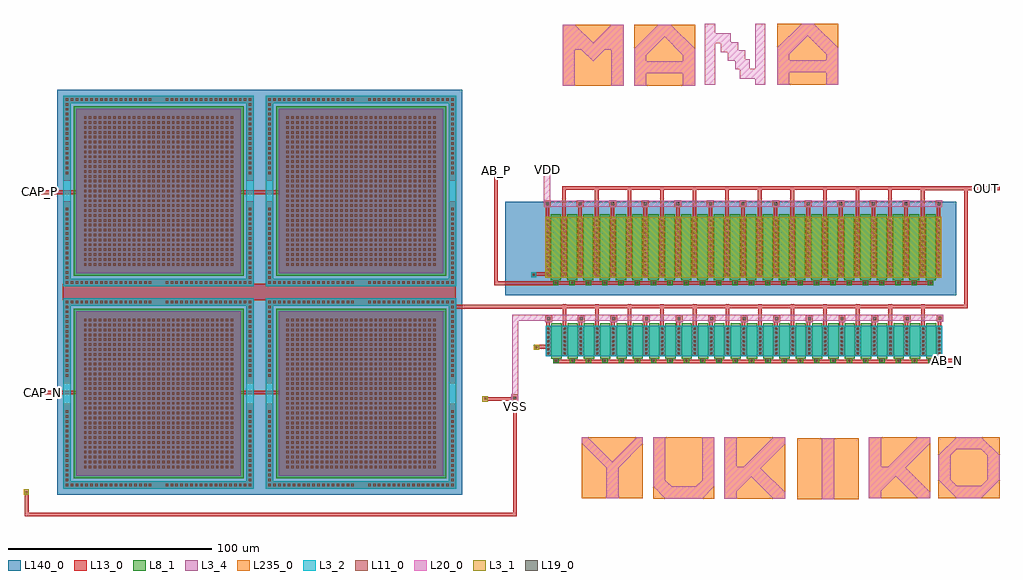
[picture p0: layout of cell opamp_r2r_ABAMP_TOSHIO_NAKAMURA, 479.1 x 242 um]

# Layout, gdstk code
from math import pi, radians
import gdstk
lib = gdstk.Library(unit=1e-6, precision=1e-07)
def R(c, l, rs):  # rectangles x0, y0, x1, y1
    for r in rs: c.add(gdstk.rectangle(r[:2], r[2:], *l))
def A(c, l, x, y, w, h, nx, ny, dx, dy):  # array of equal rectangles
    R(c, l, [(x+i*dx, y+j*dy, x+i*dx+w, y+j*dy+h) for i in range(nx) for j in range(ny)])
def P(c, l, *ps):  # polygons
    for p in ps: c.add(gdstk.Polygon(p, *l))
L3_1 = (3, 1)
L3_2 = (3, 2)
L3_4 = (3, 4)
L8_1 = (8, 1)
L11_0 = (11, 0)
L13_0 = (13, 0)
L19_0 = (19, 0)
L20_0 = (20, 0)
L140_0 = (140, 0)
L235_0 = (235, 0)

fet_p = lib.new_cell('fet_p')
R(fet_p, L3_1, [(-97.3,-15,97.3,15)])
A(fet_p, L11_0, -96.5, -13.5, 1, 1, 25, 14, 8, 2)
A(fet_p, L13_0, -97.3, -14.3, 2.6, 28.6, 25, 1, 8, 0)
fet_p.add(gdstk.FlexPath([(4,-16.2),(4,16.2)], 5, ends="flush", simple_path=True, layer=8, datatype=1))  # L8_1
fet_p.add(gdstk.FlexPath([(-4,-16.2),(-4,16.2)], 5, ends="flush", simple_path=True, layer=8, datatype=1))  # L8_1
fet_p.add(gdstk.FlexPath([(12,-16.2),(12,16.2)], 5, ends="flush", simple_path=True, layer=8, datatype=1))  # L8_1
fet_p.add(gdstk.FlexPath([(-12,-16.2),(-12,16.2)], 5, ends="flush", simple_path=True, layer=8, datatype=1))  # L8_1
fet_p.add(gdstk.FlexPath([(20,-16.2),(20,16.2)], 5, ends="flush", simple_path=True, layer=8, datatype=1))  # L8_1
fet_p.add(gdstk.FlexPath([(-20,-16.2),(-20,16.2)], 5, ends="flush", simple_path=True, layer=8, datatype=1))  # L8_1
fet_p.add(gdstk.FlexPath([(28,-16.2),(28,16.2)], 5, ends="flush", simple_path=True, layer=8, datatype=1))  # L8_1
fet_p.add(gdstk.FlexPath([(-28,-16.2),(-28,16.2)], 5, ends="flush", simple_path=True, layer=8, datatype=1))  # L8_1
fet_p.add(gdstk.FlexPath([(36,-16.2),(36,16.2)], 5, ends="flush", simple_path=True, layer=8, datatype=1))  # L8_1
fet_p.add(gdstk.FlexPath([(-36,-16.2),(-36,16.2)], 5, ends="flush", simple_path=True, layer=8, datatype=1))  # L8_1
fet_p.add(gdstk.FlexPath([(44,-16.2),(44,16.2)], 5, ends="flush", simple_path=True, layer=8, datatype=1))  # L8_1
fet_p.add(gdstk.FlexPath([(-44,-16.2),(-44,16.2)], 5, ends="flush", simple_path=True, layer=8, datatype=1))  # L8_1
fet_p.add(gdstk.FlexPath([(52,-16.2),(52,16.2)], 5, ends="flush", simple_path=True, layer=8, datatype=1))  # L8_1
fet_p.add(gdstk.FlexPath([(-52,-16.2),(-52,16.2)], 5, ends="flush", simple_path=True, layer=8, datatype=1))  # L8_1
fet_p.add(gdstk.FlexPath([(60,-16.2),(60,16.2)], 5, ends="flush", simple_path=True, layer=8, datatype=1))  # L8_1
fet_p.add(gdstk.FlexPath([(-60,-16.2),(-60,16.2)], 5, ends="flush", simple_path=True, layer=8, datatype=1))  # L8_1
fet_p.add(gdstk.FlexPath([(68,-16.2),(68,16.2)], 5, ends="flush", simple_path=True, layer=8, datatype=1))  # L8_1
fet_p.add(gdstk.FlexPath([(-68,-16.2),(-68,16.2)], 5, ends="flush", simple_path=True, layer=8, datatype=1))  # L8_1
fet_p.add(gdstk.FlexPath([(76,-16.2),(76,16.2)], 5, ends="flush", simple_path=True, layer=8, datatype=1))  # L8_1
fet_p.add(gdstk.FlexPath([(-76,-16.2),(-76,16.2)], 5, ends="flush", simple_path=True, layer=8, datatype=1))  # L8_1
fet_p.add(gdstk.FlexPath([(84,-16.2),(84,16.2)], 5, ends="flush", simple_path=True, layer=8, datatype=1))  # L8_1
fet_p.add(gdstk.FlexPath([(-84,-16.2),(-84,16.2)], 5, ends="flush", simple_path=True, layer=8, datatype=1))  # L8_1
fet_p.add(gdstk.FlexPath([(92,-16.2),(92,16.2)], 5, ends="flush", simple_path=True, layer=8, datatype=1))  # L8_1
fet_p.add(gdstk.FlexPath([(-92,-16.2),(-92,16.2)], 5, ends="flush", simple_path=True, layer=8, datatype=1))  # L8_1

cont_g = lib.new_cell('cont_g')
R(cont_g, L8_1, [(-1.3,-1.3,1.3,1.3)])
R(cont_g, L11_0, [(-0.5,-0.5,0.5,0.5)])
R(cont_g, L13_0, [(-1.3,-1.3,1.3,1.3)])

via_1 = lib.new_cell('via_1')
R(via_1, L13_0, [(-1.7,-1.7,1.7,1.7)])
R(via_1, L19_0, [(-0.7,-0.7,0.7,0.7)])
R(via_1, L20_0, [(-1.7,-1.7,1.7,1.7)])

cont_n = lib.new_cell('cont_n')
R(cont_n, L3_2, [(-1.3,-1.3,1.3,1.3)])
R(cont_n, L11_0, [(-0.5,-0.5,0.5,0.5)])
R(cont_n, L13_0, [(-1.3,-1.3,1.3,1.3)])

cont_p = lib.new_cell('cont_p')
R(cont_p, L3_1, [(-1.3,-1.3,1.3,1.3)])
R(cont_p, L11_0, [(-0.5,-0.5,0.5,0.5)])
R(cont_p, L13_0, [(-1.3,-1.3,1.3,1.3)])

moscap = lib.new_cell('moscap')
P(moscap, L3_2, [(-46.7,-46.7),(-46.7,43.1),(-43.1,43.1),(-43.1,-43.1),(43.1,-43.1),(43.1,43.1),(-46.7,43.1),(-46.7,46.7),(46.7,46.7),(46.7,-46.7)])
R(moscap, L3_4, [(-40.3,-40.3,40.3,40.3)])
R(moscap, L8_1, [(-41.7,-41.7,41.7,41.7)])
A(moscap, L11_0, -45.5, -45.5, 1.2, 1.2, 1, 18, 0, 2.4)
A(moscap, L11_0, -45.5, -45.5, 1.2, 1.2, 16, 2, 2.4, 89.8)
A(moscap, L11_0, 8.3, -45.5, 1.2, 1.2, 16, 2, 2.4, 89.8)
A(moscap, L11_0, 44.3, -45.5, 1.2, 1.2, 1, 18, 0, 2.4)
A(moscap, L11_0, -36.6, -36.6, 1.2, 1.2, 31, 31, 2.4, 2.4)
A(moscap, L11_0, -45.5, 3.5, 1.2, 1.2, 1, 18, 0, 2.4)
A(moscap, L11_0, 44.3, 3.5, 1.2, 1.2, 1, 18, 0, 2.4)
R(moscap, L13_0, [(-40.3,-40.3,40.3,40.3)])
P(moscap, L13_0, [(-46.7,-46.7),(-46.7,46.7),(-5,46.7),(-5,43.1),(-43.1,43.1),(-43.1,-43.1),(-5,-43.1),(-5,-46.7)],
  [(5,-46.7),(5,-43.1),(43.1,-43.1),(43.1,43.1),(5,43.1),(5,46.7),(46.7,46.7),(46.7,-46.7)])
R(moscap, L140_0, [(-49.7,-49.7,49.7,49.7)])

fet_n = lib.new_cell('fet_n')
R(fet_n, L3_2, [(-97.3,-7.5,97.3,7.5)])
A(fet_n, L11_0, -96.5, -6.5, 1, 1, 25, 7, 8, 2)
A(fet_n, L13_0, -97.3, -7.3, 2.6, 14.6, 25, 1, 8, 0)
fet_n.add(gdstk.FlexPath([(4,-8.7),(4,8.7)], 5, ends="flush", simple_path=True, layer=8, datatype=1))  # L8_1
fet_n.add(gdstk.FlexPath([(-4,-8.7),(-4,8.7)], 5, ends="flush", simple_path=True, layer=8, datatype=1))  # L8_1
fet_n.add(gdstk.FlexPath([(12,-8.7),(12,8.7)], 5, ends="flush", simple_path=True, layer=8, datatype=1))  # L8_1
fet_n.add(gdstk.FlexPath([(-12,-8.7),(-12,8.7)], 5, ends="flush", simple_path=True, layer=8, datatype=1))  # L8_1
fet_n.add(gdstk.FlexPath([(20,-8.7),(20,8.7)], 5, ends="flush", simple_path=True, layer=8, datatype=1))  # L8_1
fet_n.add(gdstk.FlexPath([(-20,-8.7),(-20,8.7)], 5, ends="flush", simple_path=True, layer=8, datatype=1))  # L8_1
fet_n.add(gdstk.FlexPath([(28,-8.7),(28,8.7)], 5, ends="flush", simple_path=True, layer=8, datatype=1))  # L8_1
fet_n.add(gdstk.FlexPath([(-28,-8.7),(-28,8.7)], 5, ends="flush", simple_path=True, layer=8, datatype=1))  # L8_1
fet_n.add(gdstk.FlexPath([(36,-8.7),(36,8.7)], 5, ends="flush", simple_path=True, layer=8, datatype=1))  # L8_1
fet_n.add(gdstk.FlexPath([(-36,-8.7),(-36,8.7)], 5, ends="flush", simple_path=True, layer=8, datatype=1))  # L8_1
fet_n.add(gdstk.FlexPath([(44,-8.7),(44,8.7)], 5, ends="flush", simple_path=True, layer=8, datatype=1))  # L8_1
fet_n.add(gdstk.FlexPath([(-44,-8.7),(-44,8.7)], 5, ends="flush", simple_path=True, layer=8, datatype=1))  # L8_1
fet_n.add(gdstk.FlexPath([(52,-8.7),(52,8.7)], 5, ends="flush", simple_path=True, layer=8, datatype=1))  # L8_1
fet_n.add(gdstk.FlexPath([(-52,-8.7),(-52,8.7)], 5, ends="flush", simple_path=True, layer=8, datatype=1))  # L8_1
fet_n.add(gdstk.FlexPath([(60,-8.7),(60,8.7)], 5, ends="flush", simple_path=True, layer=8, datatype=1))  # L8_1
fet_n.add(gdstk.FlexPath([(-60,-8.7),(-60,8.7)], 5, ends="flush", simple_path=True, layer=8, datatype=1))  # L8_1
fet_n.add(gdstk.FlexPath([(68,-8.7),(68,8.7)], 5, ends="flush", simple_path=True, layer=8, datatype=1))  # L8_1
fet_n.add(gdstk.FlexPath([(-68,-8.7),(-68,8.7)], 5, ends="flush", simple_path=True, layer=8, datatype=1))  # L8_1
fet_n.add(gdstk.FlexPath([(76,-8.7),(76,8.7)], 5, ends="flush", simple_path=True, layer=8, datatype=1))  # L8_1
fet_n.add(gdstk.FlexPath([(-76,-8.7),(-76,8.7)], 5, ends="flush", simple_path=True, layer=8, datatype=1))  # L8_1
fet_n.add(gdstk.FlexPath([(84,-8.7),(84,8.7)], 5, ends="flush", simple_path=True, layer=8, datatype=1))  # L8_1
fet_n.add(gdstk.FlexPath([(-84,-8.7),(-84,8.7)], 5, ends="flush", simple_path=True, layer=8, datatype=1))  # L8_1
fet_n.add(gdstk.FlexPath([(92,-8.7),(92,8.7)], 5, ends="flush", simple_path=True, layer=8, datatype=1))  # L8_1
fet_n.add(gdstk.FlexPath([(-92,-8.7),(-92,8.7)], 5, ends="flush", simple_path=True, layer=8, datatype=1))  # L8_1

c_m = lib.new_cell('M')
P(c_m, L20_0, [(0,0),(0,30),(6,30),(15,21),(24,30),(30,30),(30,0),(24,0),(24,17.7),(20.7,17.7),(15,12),(9.3,17.7),(6,17.7),(6,0)])
R(c_m, L235_0, [(0,0,30,30)])

c_a = lib.new_cell('A')
P(c_a, L20_0, [(0,0),(0,18),(12,30),(18,30),(30,18),(30,0),(24,0),(24,6),(6,6),(6,12),(24,12),(24,15),(15,24),(6,15),(6,0)])
R(c_a, L235_0, [(0,0,30,30)])

c_y = lib.new_cell('Y')
P(c_y, L20_0, [(12,0),(12,15),(0,27),(0,30),(3,30),(15,18),(27,30),(30,30),(30,27),(18,15),(18,0)])
R(c_y, L235_0, [(0,0,30,30)])

c_u = lib.new_cell('U')
P(c_u, L20_0, [(6,0),(0,6),(0,30),(6,30),(6,9),(9,6),(21,6),(24,9),(24,30),(30,30),(30,6),(24,0)])
R(c_u, L235_0, [(0,0,30,30)])

c_k = lib.new_cell('K')
P(c_k, L20_0, [(0,0),(0,30),(6,30),(6,15.5),(9.5,15.5),(24,30),(30,30),(30,27),(18,15),(30,3),(30,0),(24,0),(13.2,10.8),(6,3.6),(6,0)])
R(c_k, L235_0, [(0,0,30,30)])

c_i = lib.new_cell('I')
R(c_i, L20_0, [(12,0,18,30)])
R(c_i, L235_0, [(0,0,30,30)])

c_o = lib.new_cell('O')
P(c_o, L20_0, [(9,0),(0,9),(0,21),(9,30),(9,24),(6,21),(6,9),(9,6),(21,6),(24,9),(24,21),(21,24),(9,24),(9,30),(21,30),(30,21),(30,9),(21,0)])
R(c_o, L235_0, [(0,0,30,30)])

opamp_r2r_abamp_toshio_n = lib.new_cell('opamp_r2r_ABAMP_TOSHIO_NAKAMURA')
R(opamp_r2r_abamp_toshio_n, L140_0, [(-118.1,-23.3,103.3,22.6)])
opamp_r2r_abamp_toshio_n.add(gdstk.FlexPath([(-93.3,-17.3),(-122.6,-17.3),(-122.6,38.9)], 1.8, ends="flush", simple_path=True, layer=13, datatype=0))  # L13_0
opamp_r2r_abamp_toshio_n.add(gdstk.FlexPath([(90.4,-16.9),(91.4,-16.9)], 1.8, ends="flush", simple_path=True, layer=13, datatype=0))  # L13_0
opamp_r2r_abamp_toshio_n.add(gdstk.FlexPath([(-352.9,-118.6),(-352.9,-130.9),(-113.3,-130.9),(-113.3,-74)], 1.8, ends="flush", simple_path=True, layer=13, datatype=0))  # L13_0
opamp_r2r_abamp_toshio_n.add(gdstk.FlexPath([(-93,-55.7),(91.6,-55.7)], 1.8, ends="flush", simple_path=True, layer=13, datatype=0))  # L13_0
opamp_r2r_abamp_toshio_n.add(gdstk.FlexPath([(90.9,-55.3),(104.5,-55.3)], 1.8, ends="flush", simple_path=True, layer=13, datatype=0))  # L13_0
opamp_r2r_abamp_toshio_n.add(gdstk.FlexPath([(-113.6,-74.1),(-126.9,-74.1)], 1.8, ends="flush", simple_path=True, layer=13, datatype=0))  # L13_0
opamp_r2r_abamp_toshio_n.add(gdstk.FlexPath([(-142.4,-21.6),(-335.3,-21.6)], 8, ends="flush", simple_path=True, layer=13, datatype=0))  # L13_0
opamp_r2r_abamp_toshio_n.add(gdstk.FlexPath([(-103.1,-48.5),(-96.3,-48.5)], 1.8, ends="flush", simple_path=True, layer=13, datatype=0))  # L13_0
opamp_r2r_abamp_toshio_n.add(gdstk.FlexPath([(-154.8,-71),(-347.1,-71)], 1.8, ends="flush", simple_path=True, layer=13, datatype=0))  # L13_0
opamp_r2r_abamp_toshio_n.add(gdstk.FlexPath([(-151.9,27.4),(-348,27.4)], 1.8, ends="flush", simple_path=True, layer=13, datatype=0))  # L13_0
opamp_r2r_abamp_toshio_n.add(gdstk.FlexPath([(-89,-28.8),(-144.2,-28.8)], 1.8, ends="flush", simple_path=True, layer=13, datatype=0))  # L13_0
opamp_r2r_abamp_toshio_n.add(gdstk.FlexPath([(-104.3,-12.8),(-96.4,-12.8)], 1.8, ends="flush", simple_path=True, layer=13, datatype=0))  # L13_0
opamp_r2r_abamp_toshio_n.add(gdstk.FlexPath([(108.2,29.3),(108.2,-29.1)], 1.8, ends="flush", simple_path=True, layer=13, datatype=0))  # L13_0
opamp_r2r_abamp_toshio_n.add(gdstk.FlexPath([(-81.1,-35),(-81.1,-42)], 1.8, ends="flush", simple_path=True, layer=13, datatype=0))  # L13_0
opamp_r2r_abamp_toshio_n.add(gdstk.FlexPath([(-65.1,-35),(-65.1,-42)], 1.8, ends="flush", simple_path=True, layer=13, datatype=0))  # L13_0
opamp_r2r_abamp_toshio_n.add(gdstk.FlexPath([(-49.1,-35),(-49.1,-42)], 1.8, ends="flush", simple_path=True, layer=13, datatype=0))  # L13_0
opamp_r2r_abamp_toshio_n.add(gdstk.FlexPath([(-33.1,-35),(-33.1,-42)], 1.8, ends="flush", simple_path=True, layer=13, datatype=0))  # L13_0
opamp_r2r_abamp_toshio_n.add(gdstk.FlexPath([(-17.1,-35),(-17.1,-42)], 1.8, ends="flush", simple_path=True, layer=13, datatype=0))  # L13_0
opamp_r2r_abamp_toshio_n.add(gdstk.FlexPath([(-1.1,-35),(-1.1,-42)], 1.8, ends="flush", simple_path=True, layer=13, datatype=0))  # L13_0
opamp_r2r_abamp_toshio_n.add(gdstk.FlexPath([(14.9,-35),(14.9,-42)], 1.8, ends="flush", simple_path=True, layer=13, datatype=0))  # L13_0
opamp_r2r_abamp_toshio_n.add(gdstk.FlexPath([(30.9,-35),(30.9,-42)], 1.8, ends="flush", simple_path=True, layer=13, datatype=0))  # L13_0
opamp_r2r_abamp_toshio_n.add(gdstk.FlexPath([(46.9,-35),(46.9,-42)], 1.8, ends="flush", simple_path=True, layer=13, datatype=0))  # L13_0
opamp_r2r_abamp_toshio_n.add(gdstk.FlexPath([(-97.1,-35),(-97.1,-42)], 1.8, ends="flush", simple_path=True, layer=13, datatype=0))  # L13_0
opamp_r2r_abamp_toshio_n.add(gdstk.FlexPath([(62.9,-35),(62.9,-42)], 1.8, ends="flush", simple_path=True, layer=13, datatype=0))  # L13_0
opamp_r2r_abamp_toshio_n.add(gdstk.FlexPath([(78.9,-35),(78.9,-42)], 1.8, ends="flush", simple_path=True, layer=13, datatype=0))  # L13_0
opamp_r2r_abamp_toshio_n.add(gdstk.FlexPath([(95.1,-35.7),(95.1,-42.5)], 1.8, ends="flush", simple_path=True, layer=13, datatype=0))  # L13_0
opamp_r2r_abamp_toshio_n.add(gdstk.FlexPath([(-89,-41.6),(-89,-27.7)], 1.8, ends="flush", simple_path=True, layer=13, datatype=0))  # L13_0
opamp_r2r_abamp_toshio_n.add(gdstk.FlexPath([(-73,-41.6),(-73,-27.7)], 1.8, ends="flush", simple_path=True, layer=13, datatype=0))  # L13_0
opamp_r2r_abamp_toshio_n.add(gdstk.FlexPath([(-57,-41.6),(-57,-27.7)], 1.8, ends="flush", simple_path=True, layer=13, datatype=0))  # L13_0
opamp_r2r_abamp_toshio_n.add(gdstk.FlexPath([(-41,-41.6),(-41,-27.7)], 1.8, ends="flush", simple_path=True, layer=13, datatype=0))  # L13_0
opamp_r2r_abamp_toshio_n.add(gdstk.FlexPath([(-25,-41.6),(-25,-27.7)], 1.8, ends="flush", simple_path=True, layer=13, datatype=0))  # L13_0
opamp_r2r_abamp_toshio_n.add(gdstk.FlexPath([(-9,-41.6),(-9,-27.7)], 1.8, ends="flush", simple_path=True, layer=13, datatype=0))  # L13_0
opamp_r2r_abamp_toshio_n.add(gdstk.FlexPath([(7,-41.6),(7,-27.7)], 1.8, ends="flush", simple_path=True, layer=13, datatype=0))  # L13_0
opamp_r2r_abamp_toshio_n.add(gdstk.FlexPath([(23,-41.6),(23,-27.7)], 1.8, ends="flush", simple_path=True, layer=13, datatype=0))  # L13_0
opamp_r2r_abamp_toshio_n.add(gdstk.FlexPath([(39,-41.6),(39,-27.7)], 1.8, ends="flush", simple_path=True, layer=13, datatype=0))  # L13_0
opamp_r2r_abamp_toshio_n.add(gdstk.FlexPath([(55,-41.6),(55,-27.7)], 1.8, ends="flush", simple_path=True, layer=13, datatype=0))  # L13_0
opamp_r2r_abamp_toshio_n.add(gdstk.FlexPath([(71,-41.6),(71,-27.7)], 1.8, ends="flush", simple_path=True, layer=13, datatype=0))  # L13_0
opamp_r2r_abamp_toshio_n.add(gdstk.FlexPath([(87,-41.6),(87,-27.7)], 1.8, ends="flush", simple_path=True, layer=13, datatype=0))  # L13_0
opamp_r2r_abamp_toshio_n.add(gdstk.FlexPath([(109.1,-28.7),(-89.5,-28.7)], 1.8, ends="flush", simple_path=True, layer=13, datatype=0))  # L13_0
opamp_r2r_abamp_toshio_n.add(gdstk.FlexPath([(-97.3,21),(-97.3,14.3)], 1.8, ends="flush", simple_path=True, layer=13, datatype=0))  # L13_0
opamp_r2r_abamp_toshio_n.add(gdstk.FlexPath([(-33.3,21),(-33.3,14.3)], 1.8, ends="flush", simple_path=True, layer=13, datatype=0))  # L13_0
opamp_r2r_abamp_toshio_n.add(gdstk.FlexPath([(-81.3,21),(-81.3,14.3)], 1.8, ends="flush", simple_path=True, layer=13, datatype=0))  # L13_0
opamp_r2r_abamp_toshio_n.add(gdstk.FlexPath([(-89.1,30.3),(-89.1,14.5)], 1.8, ends="flush", simple_path=True, layer=13, datatype=0))  # L13_0
opamp_r2r_abamp_toshio_n.add(gdstk.FlexPath([(-65.3,21),(-65.3,14.3)], 1.8, ends="flush", simple_path=True, layer=13, datatype=0))  # L13_0
opamp_r2r_abamp_toshio_n.add(gdstk.FlexPath([(-73.1,30.3),(-73.1,14.5)], 1.8, ends="flush", simple_path=True, layer=13, datatype=0))  # L13_0
opamp_r2r_abamp_toshio_n.add(gdstk.FlexPath([(-49.3,21),(-49.3,14.3)], 1.8, ends="flush", simple_path=True, layer=13, datatype=0))  # L13_0
opamp_r2r_abamp_toshio_n.add(gdstk.FlexPath([(-57.1,30.3),(-57.1,14.5)], 1.8, ends="flush", simple_path=True, layer=13, datatype=0))  # L13_0
opamp_r2r_abamp_toshio_n.add(gdstk.FlexPath([(-41.1,30.3),(-41.1,14.5)], 1.8, ends="flush", simple_path=True, layer=13, datatype=0))  # L13_0
opamp_r2r_abamp_toshio_n.add(gdstk.FlexPath([(-25.1,30.3),(-25.1,14.5)], 1.8, ends="flush", simple_path=True, layer=13, datatype=0))  # L13_0
opamp_r2r_abamp_toshio_n.add(gdstk.FlexPath([(-17.3,21),(-17.3,14.3)], 1.8, ends="flush", simple_path=True, layer=13, datatype=0))  # L13_0
opamp_r2r_abamp_toshio_n.add(gdstk.FlexPath([(-9.1,30.3),(-9.1,14.5)], 1.8, ends="flush", simple_path=True, layer=13, datatype=0))  # L13_0
opamp_r2r_abamp_toshio_n.add(gdstk.FlexPath([(-1.3,21),(-1.3,14.3)], 1.8, ends="flush", simple_path=True, layer=13, datatype=0))  # L13_0
opamp_r2r_abamp_toshio_n.add(gdstk.FlexPath([(6.9,30.3),(6.9,14.5)], 1.8, ends="flush", simple_path=True, layer=13, datatype=0))  # L13_0
opamp_r2r_abamp_toshio_n.add(gdstk.FlexPath([(14.7,21),(14.7,14.3)], 1.8, ends="flush", simple_path=True, layer=13, datatype=0))  # L13_0
opamp_r2r_abamp_toshio_n.add(gdstk.FlexPath([(22.9,30.3),(22.9,14.5)], 1.8, ends="flush", simple_path=True, layer=13, datatype=0))  # L13_0
opamp_r2r_abamp_toshio_n.add(gdstk.FlexPath([(30.7,21),(30.7,14.3)], 1.8, ends="flush", simple_path=True, layer=13, datatype=0))  # L13_0
opamp_r2r_abamp_toshio_n.add(gdstk.FlexPath([(38.9,30.3),(38.9,14.5)], 1.8, ends="flush", simple_path=True, layer=13, datatype=0))  # L13_0
opamp_r2r_abamp_toshio_n.add(gdstk.FlexPath([(46.7,21),(46.7,14.3)], 1.8, ends="flush", simple_path=True, layer=13, datatype=0))  # L13_0
opamp_r2r_abamp_toshio_n.add(gdstk.FlexPath([(54.9,30.3),(54.9,14.5)], 1.8, ends="flush", simple_path=True, layer=13, datatype=0))  # L13_0
opamp_r2r_abamp_toshio_n.add(gdstk.FlexPath([(62.7,21),(62.7,14.3)], 1.8, ends="flush", simple_path=True, layer=13, datatype=0))  # L13_0
opamp_r2r_abamp_toshio_n.add(gdstk.FlexPath([(70.9,30.3),(70.9,14.5)], 1.8, ends="flush", simple_path=True, layer=13, datatype=0))  # L13_0
opamp_r2r_abamp_toshio_n.add(gdstk.FlexPath([(78.7,21),(78.7,14.3)], 1.8, ends="flush", simple_path=True, layer=13, datatype=0))  # L13_0
opamp_r2r_abamp_toshio_n.add(gdstk.FlexPath([(94.7,21),(94.7,14.3)], 1.8, ends="flush", simple_path=True, layer=13, datatype=0))  # L13_0
opamp_r2r_abamp_toshio_n.add(gdstk.FlexPath([(86.9,30.3),(86.9,14.5)], 1.8, ends="flush", simple_path=True, layer=13, datatype=0))  # L13_0
opamp_r2r_abamp_toshio_n.add(gdstk.FlexPath([(-89.6,29.4),(86.7,29.4)], 1.8, ends="flush", simple_path=True, layer=13, datatype=0))  # L13_0
opamp_r2r_abamp_toshio_n.add(gdstk.FlexPath([(-93.3,-17.1),(91.4,-17.1)], 1.8, ends="flush", simple_path=True, layer=13, datatype=0))  # L13_0
opamp_r2r_abamp_toshio_n.add(gdstk.FlexPath([(87,29.3),(124.6,29.3)], 1.8, ends="flush", simple_path=True, layer=13, datatype=0))  # L13_0
opamp_r2r_abamp_toshio_n.add(gdstk.FlexPath([(-17.5,110),(-17.5,80.1)], 5, ends="flush", simple_path=True, layer=20, datatype=0))  # L20_0
opamp_r2r_abamp_toshio_n.add(gdstk.FlexPath([(7.2,110.1),(7.2,80.1)], 5, ends="flush", simple_path=True, layer=20, datatype=0))  # L20_0
opamp_r2r_abamp_toshio_n.add(gdstk.FlexPath([(-15.4,103),(-9.8,103),(-9.8,98.5),(-6.2,98.5),(-6.2,94.5),(-2.7,94.5),(-2.7,90.2),(-0.4,90.2),(-0.4,85.5),(5.3,85.5)], 5, ends="flush", simple_path=True, layer=20, datatype=0))  # L20_0
opamp_r2r_abamp_toshio_n.add(gdstk.FlexPath([(94.6,21.7),(-98,21.7)], 3, ends="flush", simple_path=True, layer=20, datatype=0))  # L20_0
opamp_r2r_abamp_toshio_n.add(gdstk.FlexPath([(-97.5,21.7),(-97.5,39.3)], 3, ends="flush", simple_path=True, layer=20, datatype=0))  # L20_0
opamp_r2r_abamp_toshio_n.add(gdstk.FlexPath([(95.3,-34.2),(-113.1,-34.2),(-113.1,-54.4),(-113.1,-79.3)], 3, ends="flush", simple_path=True, layer=20, datatype=0))  # L20_0
opamp_r2r_abamp_toshio_n.add(gdstk.Reference(fet_p, (-1.2,0.4), rotation=pi))
opamp_r2r_abamp_toshio_n.add(gdstk.Reference(cont_g, (-93.2,-17.1), rotation=pi))
opamp_r2r_abamp_toshio_n.add(gdstk.Reference(cont_g, (-85.2,-17.1), rotation=pi))
opamp_r2r_abamp_toshio_n.add(gdstk.Reference(cont_g, (-77.2,-17.1), rotation=pi))
opamp_r2r_abamp_toshio_n.add(gdstk.Reference(cont_g, (-69.2,-17.1), rotation=pi))
opamp_r2r_abamp_toshio_n.add(gdstk.Reference(cont_g, (-61.2,-17.1), rotation=pi))
opamp_r2r_abamp_toshio_n.add(gdstk.Reference(cont_g, (-53.2,-17.1), rotation=pi))
opamp_r2r_abamp_toshio_n.add(gdstk.Reference(cont_g, (-45.2,-17.1), rotation=pi))
opamp_r2r_abamp_toshio_n.add(gdstk.Reference(cont_g, (-37.2,-17.1), rotation=pi))
opamp_r2r_abamp_toshio_n.add(gdstk.Reference(cont_g, (-29.2,-17.1), rotation=pi))
opamp_r2r_abamp_toshio_n.add(gdstk.Reference(cont_g, (-21.2,-17.1), rotation=pi))
opamp_r2r_abamp_toshio_n.add(gdstk.Reference(cont_g, (-13.2,-17.1), rotation=pi))
opamp_r2r_abamp_toshio_n.add(gdstk.Reference(cont_g, (-5.2,-17.1), rotation=pi))
opamp_r2r_abamp_toshio_n.add(gdstk.Reference(cont_g, (2.8,-17.1), rotation=pi))
opamp_r2r_abamp_toshio_n.add(gdstk.Reference(cont_g, (10.8,-17.1), rotation=pi))
opamp_r2r_abamp_toshio_n.add(gdstk.Reference(cont_g, (18.8,-17.1), rotation=pi))
opamp_r2r_abamp_toshio_n.add(gdstk.Reference(cont_g, (26.8,-17.1), rotation=pi))
opamp_r2r_abamp_toshio_n.add(gdstk.Reference(cont_g, (34.8,-17.1), rotation=pi))
opamp_r2r_abamp_toshio_n.add(gdstk.Reference(cont_g, (42.8,-17.1), rotation=pi))
opamp_r2r_abamp_toshio_n.add(gdstk.Reference(cont_g, (50.8,-17.1), rotation=pi))
opamp_r2r_abamp_toshio_n.add(gdstk.Reference(cont_g, (58.8,-17.1), rotation=pi))
opamp_r2r_abamp_toshio_n.add(gdstk.Reference(cont_g, (66.8,-17.1), rotation=pi))
opamp_r2r_abamp_toshio_n.add(gdstk.Reference(cont_g, (74.8,-17.1), rotation=pi))
opamp_r2r_abamp_toshio_n.add(gdstk.Reference(cont_g, (82.8,-17.1), rotation=pi))
opamp_r2r_abamp_toshio_n.add(gdstk.Reference(cont_g, (90.8,-17.1), rotation=pi))
opamp_r2r_abamp_toshio_n.add(gdstk.Reference(via_1, (-97.3,21.7), rotation=pi))
opamp_r2r_abamp_toshio_n.add(gdstk.Reference(via_1, (-33.3,21.7), rotation=pi))
opamp_r2r_abamp_toshio_n.add(gdstk.Reference(via_1, (-81.3,21.7), rotation=pi))
opamp_r2r_abamp_toshio_n.add(gdstk.Reference(via_1, (94.9,21.7), rotation=pi))
opamp_r2r_abamp_toshio_n.add(gdstk.Reference(via_1, (-65.3,21.7), rotation=pi))
opamp_r2r_abamp_toshio_n.add(gdstk.Reference(via_1, (-49.3,21.7), rotation=pi))
opamp_r2r_abamp_toshio_n.add(gdstk.Reference(via_1, (-17.3,21.7), rotation=pi))
opamp_r2r_abamp_toshio_n.add(gdstk.Reference(via_1, (-1.3,21.7), rotation=pi))
opamp_r2r_abamp_toshio_n.add(gdstk.Reference(via_1, (14.7,21.7), rotation=pi))
opamp_r2r_abamp_toshio_n.add(gdstk.Reference(via_1, (30.7,21.7), rotation=pi))
opamp_r2r_abamp_toshio_n.add(gdstk.Reference(via_1, (46.7,21.7), rotation=pi))
opamp_r2r_abamp_toshio_n.add(gdstk.Reference(via_1, (62.7,21.7), rotation=pi))
opamp_r2r_abamp_toshio_n.add(gdstk.Reference(via_1, (78.7,21.7), rotation=pi))
opamp_r2r_abamp_toshio_n.add(gdstk.Reference(cont_n, (-104,-13.1), rotation=pi))
opamp_r2r_abamp_toshio_n.add(gdstk.Reference(cont_g, (-85.1,-55.3), rotation=pi))
opamp_r2r_abamp_toshio_n.add(gdstk.Reference(cont_g, (-77.1,-55.3), rotation=pi))
opamp_r2r_abamp_toshio_n.add(gdstk.Reference(cont_g, (-69.1,-55.3), rotation=pi))
opamp_r2r_abamp_toshio_n.add(gdstk.Reference(cont_g, (-61.1,-55.3), rotation=pi))
opamp_r2r_abamp_toshio_n.add(gdstk.Reference(cont_g, (-53.1,-55.3), rotation=pi))
opamp_r2r_abamp_toshio_n.add(gdstk.Reference(cont_g, (-45.1,-55.3), rotation=pi))
opamp_r2r_abamp_toshio_n.add(gdstk.Reference(cont_g, (-37.1,-55.3), rotation=pi))
opamp_r2r_abamp_toshio_n.add(gdstk.Reference(cont_g, (-29.1,-55.3), rotation=pi))
opamp_r2r_abamp_toshio_n.add(gdstk.Reference(cont_g, (-21.1,-55.3), rotation=pi))
opamp_r2r_abamp_toshio_n.add(gdstk.Reference(cont_g, (-13.1,-55.3), rotation=pi))
opamp_r2r_abamp_toshio_n.add(gdstk.Reference(cont_g, (-5.1,-55.3), rotation=pi))
opamp_r2r_abamp_toshio_n.add(gdstk.Reference(cont_g, (2.9,-55.3), rotation=pi))
opamp_r2r_abamp_toshio_n.add(gdstk.Reference(cont_g, (10.9,-55.3), rotation=pi))
opamp_r2r_abamp_toshio_n.add(gdstk.Reference(cont_g, (18.9,-55.3), rotation=pi))
opamp_r2r_abamp_toshio_n.add(gdstk.Reference(cont_g, (26.9,-55.3), rotation=pi))
opamp_r2r_abamp_toshio_n.add(gdstk.Reference(cont_g, (34.9,-55.3), rotation=pi))
opamp_r2r_abamp_toshio_n.add(gdstk.Reference(cont_g, (42.9,-55.3), rotation=pi))
opamp_r2r_abamp_toshio_n.add(gdstk.Reference(cont_g, (50.9,-55.3), rotation=pi))
opamp_r2r_abamp_toshio_n.add(gdstk.Reference(cont_g, (58.9,-55.3), rotation=pi))
opamp_r2r_abamp_toshio_n.add(gdstk.Reference(cont_g, (66.9,-55.3), rotation=pi))
opamp_r2r_abamp_toshio_n.add(gdstk.Reference(cont_g, (74.9,-55.3), rotation=pi))
opamp_r2r_abamp_toshio_n.add(gdstk.Reference(cont_g, (82.9,-55.3), rotation=pi))
opamp_r2r_abamp_toshio_n.add(gdstk.Reference(cont_g, (90.9,-55.3), rotation=pi))
opamp_r2r_abamp_toshio_n.add(gdstk.Reference(via_1, (-80.7,-34.8), rotation=pi))
opamp_r2r_abamp_toshio_n.add(gdstk.Reference(via_1, (-64.7,-34.8), rotation=pi))
opamp_r2r_abamp_toshio_n.add(gdstk.Reference(via_1, (-48.7,-34.8), rotation=pi))
opamp_r2r_abamp_toshio_n.add(gdstk.Reference(via_1, (-32.7,-34.8), rotation=pi))
opamp_r2r_abamp_toshio_n.add(gdstk.Reference(via_1, (-16.7,-34.8), rotation=pi))
opamp_r2r_abamp_toshio_n.add(gdstk.Reference(via_1, (-0.7,-34.8), rotation=pi))
opamp_r2r_abamp_toshio_n.add(gdstk.Reference(via_1, (15.3,-34.8), rotation=pi))
opamp_r2r_abamp_toshio_n.add(gdstk.Reference(via_1, (31.3,-34.8), rotation=pi))
opamp_r2r_abamp_toshio_n.add(gdstk.Reference(via_1, (47.3,-34.8), rotation=pi))
opamp_r2r_abamp_toshio_n.add(gdstk.Reference(via_1, (63.3,-34.8), rotation=pi))
opamp_r2r_abamp_toshio_n.add(gdstk.Reference(via_1, (-96.7,-34.8), rotation=pi))
opamp_r2r_abamp_toshio_n.add(gdstk.Reference(via_1, (95.4,-34.5), rotation=pi))
opamp_r2r_abamp_toshio_n.add(gdstk.Reference(cont_p, (-102.7,-48.7), rotation=pi))
opamp_r2r_abamp_toshio_n.add(gdstk.Reference(moscap, (-188.8,28), rotation=pi/2))
opamp_r2r_abamp_toshio_n.add(gdstk.Reference(moscap, (-288.2,28), rotation=pi/2))
opamp_r2r_abamp_toshio_n.add(gdstk.Reference(moscap, (-188.8,-71.4), rotation=pi/2))
opamp_r2r_abamp_toshio_n.add(gdstk.Reference(moscap, (-288.2,-71.4), rotation=pi/2))
opamp_r2r_abamp_toshio_n.add(gdstk.Reference(cont_p, (-127.9,-74.1), rotation=pi))
opamp_r2r_abamp_toshio_n.add(gdstk.Reference(via_1, (-113.4,-73.6), rotation=pi))
opamp_r2r_abamp_toshio_n.add(gdstk.Reference(fet_n, (-0.9,-45.7), rotation=pi))
opamp_r2r_abamp_toshio_n.add(gdstk.Reference(via_1, (79.3,-34.8), rotation=pi))
opamp_r2r_abamp_toshio_n.add(gdstk.Reference(cont_g, (-93.1,-55.3), rotation=pi))
opamp_r2r_abamp_toshio_n.add(gdstk.Reference(cont_p, (-353.2,-119.8), rotation=pi))
opamp_r2r_abamp_toshio_n.add(gdstk.Reference(c_m, (-89.9,79.7)))
opamp_r2r_abamp_toshio_n.add(gdstk.Reference(c_a, (-54.8,79.7)))
opamp_r2r_abamp_toshio_n.add(gdstk.Reference(c_y, (-80.4,-122.9)))
opamp_r2r_abamp_toshio_n.add(gdstk.Reference(c_a, (15.5,80.2)))
opamp_r2r_abamp_toshio_n.add(gdstk.Reference(c_u, (-45.4,-123)))
opamp_r2r_abamp_toshio_n.add(gdstk.Reference(c_k, (-10.5,-123)))
opamp_r2r_abamp_toshio_n.add(gdstk.Reference(c_i, (25.4,-123.3)))
opamp_r2r_abamp_toshio_n.add(gdstk.Reference(c_k, (60.5,-122.8)))
opamp_r2r_abamp_toshio_n.add(gdstk.Reference(c_o, (94.6,-122.8)))
opamp_r2r_abamp_toshio_n.add(gdstk.Label('AB_P', (-122.1,37.8), layer=48, texttype=0))
opamp_r2r_abamp_toshio_n.add(gdstk.Label('AB_N', (99.2,-55.3), layer=48, texttype=0))
opamp_r2r_abamp_toshio_n.add(gdstk.Label('CAP_N', (-345.4,-70.9), layer=48, texttype=0))
opamp_r2r_abamp_toshio_n.add(gdstk.Label('CAP_P', (-346.7,27.5), layer=48, texttype=0))
opamp_r2r_abamp_toshio_n.add(gdstk.Label('OUT', (118,29.4), layer=48, texttype=0))
opamp_r2r_abamp_toshio_n.add(gdstk.Label('VDD', (-97.5,38.4), layer=49, texttype=0))
opamp_r2r_abamp_toshio_n.add(gdstk.Label('VSS', (-113.1,-77.6), layer=49, texttype=0))

lib.write_gds('opamp_r2r_ABAMP_TOSHIO_NAKAMURA.gds')
